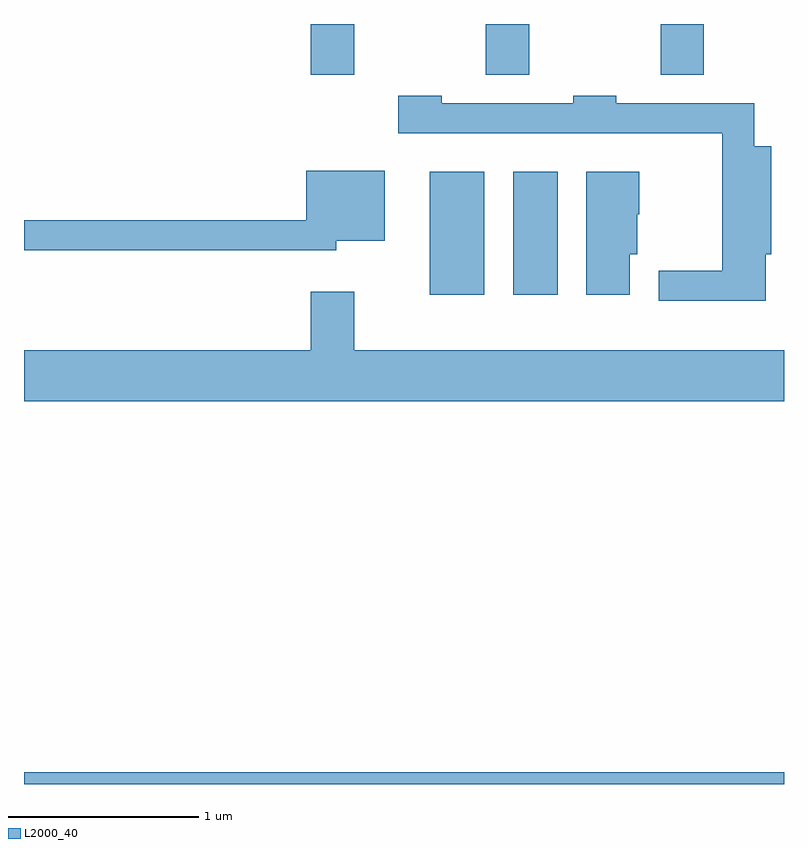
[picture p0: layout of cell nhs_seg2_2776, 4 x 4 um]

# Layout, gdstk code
import gdstk
lib = gdstk.Library(unit=1e-6, precision=1e-09)
def R(c, l, rs):  # rectangles x0, y0, x1, y1
    for r in rs: c.add(gdstk.rectangle(r[:2], r[2:], *l))
def A(c, l, x, y, w, h, nx, ny, dx, dy):  # array of equal rectangles
    R(c, l, [(x+i*dx, y+j*dy, x+i*dx+w, y+j*dy+h) for i in range(nx) for j in range(ny)])
def P(c, l, *ps):  # polygons
    for p in ps: c.add(gdstk.Polygon(p, *l))
L2000_40 = (2000, 40)

nhs_seg2_2776 = lib.new_cell('nhs_seg2_2776')
A(nhs_seg2_2776, L2000_40, 267.121, 1105.536, 0.228, 0.266, 3, 1, 0.92, 0)
R(nhs_seg2_2776, L2000_40, [(265.611,1101.802,269.611,1101.864), (267.746,1104.376,268.034,1105.024), (268.186,1104.376,268.419,1105.024)])
P(nhs_seg2_2776, L2000_40, [(269.514,1104.591),(269.544,1104.591),(269.544,1105.159),(269.454,1105.159),(269.454,1105.384),(268.729,1105.384),(268.729,1105.424),(268.501,1105.424),(268.501,1105.384),(267.809,1105.384),(267.809,1105.424),(267.581,1105.424),(267.581,1105.226),(269.286,1105.226),(269.286,1104.504),(268.953,1104.504),(268.953,1104.346),(269.514,1104.346)],
  [(267.254,1104.661),(267.509,1104.661),(267.509,1105.029),(267.096,1105.029),(267.096,1104.769),(265.611,1104.769),(265.611,1104.611),(267.254,1104.611)],
  [(268.799,1104.591),(268.839,1104.591),(268.839,1104.8),(268.849,1104.8),(268.849,1105.024),(268.571,1105.024),(268.571,1104.376),(268.799,1104.376)],
  [(269.611,1104.084),(267.349,1104.084),(267.349,1104.394),(267.121,1104.394),(267.121,1104.084),(265.611,1104.084),(265.611,1103.816),(269.611,1103.816)])

lib.write_gds('nhs_seg2_2776.gds')
